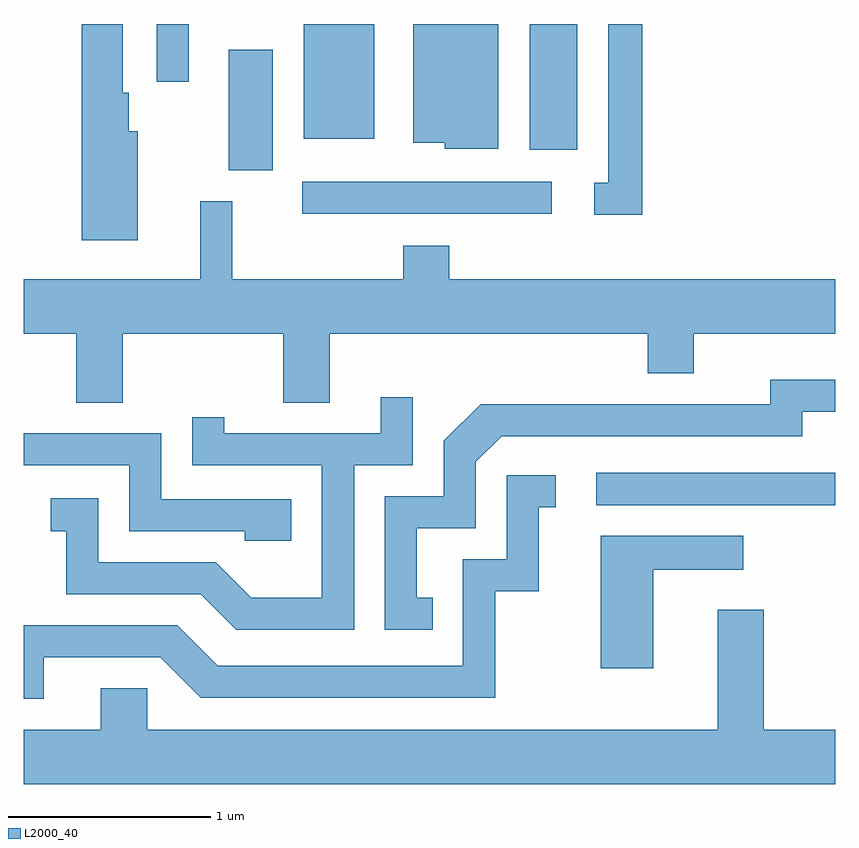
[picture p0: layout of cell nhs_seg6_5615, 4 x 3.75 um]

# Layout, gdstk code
import gdstk
lib = gdstk.Library(unit=1e-6, precision=1e-09)
def R(c, l, rs):  # rectangles x0, y0, x1, y1
    for r in rs: c.add(gdstk.rectangle(r[:2], r[2:], *l))
def P(c, l, *ps):  # polygons
    for p in ps: c.add(gdstk.Polygon(p, *l))
L2000_40 = (2000, 40)

nhs_seg6_5615 = lib.new_cell('nhs_seg6_5615')
R(nhs_seg6_5615, L2000_40, [(358.433,1615.791,359.611,1615.949), (356.983,1617.226,358.213,1617.384), (356.621,1617.441,356.839,1618.034), (358.106,1617.541,358.339,1618.162), (356.991,1617.596,357.339,1618.162), (356.266,1617.878,356.424,1618.162)])
P(nhs_seg6_5615, L2000_40, [(357.949,1618.162),(357.531,1618.162),(357.531,1617.576),(357.686,1617.576),(357.686,1617.546),(357.949,1617.546)],
  [(358.659,1618.162),(358.491,1618.162),(358.491,1617.379),(358.423,1617.379),(358.423,1617.221),(358.659,1617.221)],
  [(356.174,1617.634),(356.129,1617.634),(356.129,1617.824),(356.099,1617.824),(356.099,1618.162),(355.896,1618.162),(355.896,1617.096),(356.174,1617.096)],
  [(356.099,1616.636),(356.891,1616.636),(356.891,1616.296),(357.119,1616.296),(357.119,1616.636),(358.686,1616.636),(358.686,1616.441),(358.914,1616.441),(358.914,1616.636),(359.611,1616.636),(359.611,1616.904),(357.709,1616.904),(357.709,1617.069),(357.481,1617.069),(357.481,1616.904),(356.639,1616.904),(356.639,1617.288),(356.481,1617.288),(356.481,1616.904),(355.611,1616.904),(355.611,1616.636),(355.871,1616.636),(355.871,1616.296),(356.099,1616.296)],
  [(357.628,1615.334),(357.549,1615.334),(357.549,1615.676),(357.839,1615.676),(357.839,1616.004),(357.967,1616.131),(359.449,1616.131),(359.449,1616.251),(359.611,1616.251),(359.611,1616.409),(359.291,1616.409),(359.291,1616.289),(357.864,1616.289),(357.681,1616.107),(357.681,1615.834),(357.391,1615.834),(357.391,1615.176),(357.628,1615.176)],
  [(357.239,1615.986),(357.529,1615.986),(357.529,1616.323),(357.371,1616.323),(357.371,1616.144),(356.599,1616.144),(356.599,1616.223),(356.441,1616.223),(356.441,1615.986),(357.081,1615.986),(357.081,1615.334),(356.732,1615.334),(356.557,1615.509),(355.979,1615.509),(355.979,1615.824),(355.743,1615.824),(355.743,1615.661),(355.821,1615.661),(355.821,1615.351),(356.484,1615.351),(356.659,1615.176),(357.239,1615.176)],
  [(356.929,1615.819),(356.289,1615.819),(356.289,1616.144),(355.611,1616.144),(355.611,1615.986),(356.131,1615.986),(356.131,1615.661),(356.701,1615.661),(356.701,1615.616),(356.929,1615.616)],
  [(355.709,1615.041),(356.284,1615.041),(356.484,1614.841),(357.934,1614.841),(357.934,1615.366),(358.149,1615.366),(358.149,1615.781),(358.233,1615.781),(358.233,1615.939),(357.991,1615.939),(357.991,1615.524),(357.776,1615.524),(357.776,1614.999),(356.567,1614.999),(356.367,1615.199),(355.611,1615.199),(355.611,1614.836),(355.709,1614.836)],
  [(358.714,1615.471),(359.158,1615.471),(359.158,1615.639),(358.456,1615.639),(358.456,1614.986),(358.714,1614.986)],
  [(359.611,1614.684),(359.259,1614.684),(359.259,1615.274),(359.031,1615.274),(359.031,1614.684),(356.219,1614.684),(356.219,1614.889),(355.991,1614.889),(355.991,1614.684),(355.611,1614.684),(355.611,1614.416),(359.611,1614.416)])

lib.write_gds('nhs_seg6_5615.gds')
